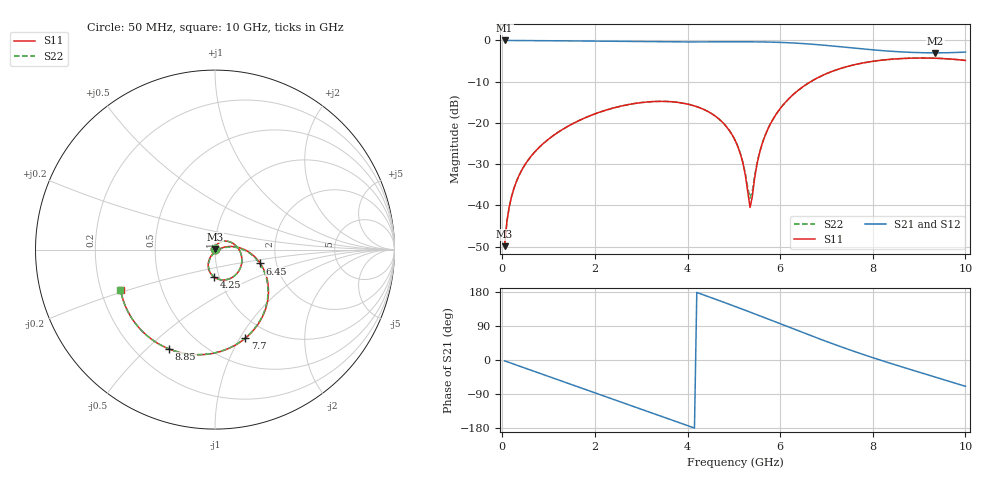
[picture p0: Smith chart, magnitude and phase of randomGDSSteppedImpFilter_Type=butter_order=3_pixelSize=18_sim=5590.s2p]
! freq	dB(S11)	phase(S11)	dB(S12)	phase(S12)
!  dB(S21)	phase(S21)	dB(S22)	phase(S22)
!S-par simulation data
#  GHz  S  DB  R 50
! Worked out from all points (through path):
!   200 points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, 50 MHz to 10 GHz, reference 50 ohm
!   highest |S21| = 0.00 dB at 50 MHz (marker M1); lowest = -3.0 dB at 9.35 GHz (marker M2)
!   group delay of S21, straight-line fit = 122 ps
!   lowest |S11| = -49.9 dB at 50 MHz (marker M3), VSWR 1.01, Z = 50 + j0.319 ohm
!   |S11| at or under -10 dB: start of sweep to 6.66 GHz
!   |S22| runs from -49.9 to -4.3 dB; largest |S21 - S12| = 0
!   S11 on the Smith chart (normalised r, x): 50 MHz: 1.00, +0.01; 4.25 GHz: 0.95, -0.30; 6.45 GHz: 1.65, -0.27; 7.7 GHz: 0.78, -1.06; 8.85 GHz: 0.33, -0.59; 10 GHz: 0.28, -0.19
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0.05  -49.91 86.5  -0.00 -2.2  -0.00 -2.2  -49.91 86.5
0.1  -43.89 84.8  -0.01 -4.4  -0.01 -4.4  -43.89 84.8
0.2  -37.88 80.6  -0.02 -8.8  -0.02 -8.8  -37.88 80.7
0.45  -30.88 69.8  -0.03 -19.6  -0.03 -19.6  -30.88 69.8
0.95  -24.39 48.6  -0.06 -41.3  -0.06 -41.3  -24.39 48.6
1.75  -18.95 14.6  -0.14 -75.9  -0.14 -75.9  -18.95 14.7
2.55  -15.96 -19.8  -0.24 -110.5  -0.24 -110.5  -15.96 -19.6
3.4  -14.78 -55.9  -0.33 -147.1  -0.33 -147.1  -14.78 -55.6
4.25  -16.27 -91.5  -0.35 176.0  -0.35 176.0  -16.27 -90.9
4.75  -19.81 -111.6  -0.33 153.9  -0.33 153.9  -19.79 -110.4
5.05  -24.79 -120.9  -0.32 140.3  -0.32 140.3  -24.73 -118.5
5.2  -29.97 -119.9  -0.32 133.4  -0.32 133.4  -29.73 -115.5
5.35  -40.51 -61.6  -0.33 126.4  -0.33 126.4  -38.27 -60.0
5.5  -30.02 12.1  -0.34 119.4  -0.34 119.4  -29.76 7.1
5.7  -22.40 13.0  -0.38 110.0  -0.38 110.0  -22.35 10.6
6.45  -11.57 -17.0  -0.72 74.4  -0.72 74.4  -11.57 -17.8
6.7  -9.73 -28.1  -0.92 62.6  -0.92 62.6  -9.73 -28.9
7.7  -5.65 -71.0  -1.97 18.4  -1.97 18.4  -5.65 -71.5
8.35  -4.60 -96.3  -2.60 -7.6  -2.60 -7.6  -4.61 -96.8
8.85  -4.29 -114.8  -2.90 -26.4  -2.90 -26.4  -4.29 -115.2
9.35  -4.32 -132.8  -3.01 -44.9  -3.01 -44.9  -4.32 -133.2
10  -4.85 -156.7  -2.83 -69.4  -2.83 -69.4  -4.85 -157.1
